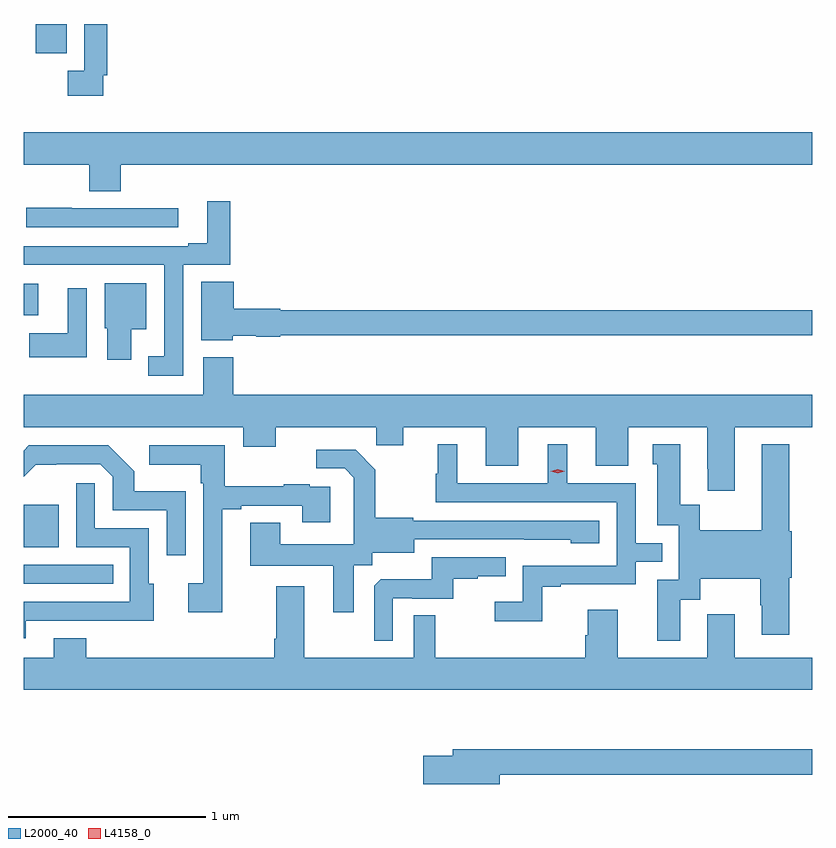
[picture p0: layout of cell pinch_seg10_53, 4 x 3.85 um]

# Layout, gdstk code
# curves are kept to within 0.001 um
import gdstk
lib = gdstk.Library(unit=1e-6, precision=1e-09)
def R(c, l, rs):  # rectangles x0, y0, x1, y1
    for r in rs: c.add(gdstk.rectangle(r[:2], r[2:], *l))
def P(c, l, *ps):  # polygons
    for p in ps: c.add(gdstk.Polygon(p, *l))
L2000_40 = (2000, 40)
L4158_0 = (4158, 0)

pinch_seg10_53 = lib.new_cell('pinch_seg10_53')
R(pinch_seg10_53, L2000_40, [(840.631,1320.834,841.085,1320.93), (840.631,1321.019,840.808,1321.234), (840.631,1322.195,840.706,1322.356), (840.692,1323.524,840.85,1323.673)])
P(pinch_seg10_53, L2000_40, [(841.035,1323.412),(841.055,1323.412),(841.055,1323.673),(840.939,1323.673),(840.939,1323.436),(840.855,1323.436),(840.855,1323.308),(841.035,1323.308)],
  [(841.124,1322.96),(844.631,1322.96),(844.631,1323.124),(840.631,1323.124),(840.631,1322.96),(840.964,1322.96),(840.964,1322.824),(841.124,1322.824)],
  [(841.44,1322.451),(841.679,1322.451),(841.679,1322.773),(841.562,1322.773),(841.562,1322.56),(841.466,1322.56),(841.466,1322.547),(840.631,1322.547),(840.631,1322.451),(841.344,1322.451),(841.344,1321.987),(841.262,1321.987),(841.262,1321.89),(841.44,1321.89)],
  [(841.414,1322.739),(840.875,1322.739),(840.875,1322.742),(840.645,1322.742),(840.645,1322.643),(841.414,1322.643)],
  [(841.692,1322.093),(841.812,1322.093),(841.812,1322.086),(841.932,1322.086),(841.932,1322.094),(844.631,1322.094),(844.631,1322.222),(841.932,1322.222),(841.932,1322.23),(841.696,1322.23),(841.696,1322.366),(841.532,1322.366),(841.532,1322.069),(841.692,1322.069)],
  [(841.177,1322.126),(841.252,1322.126),(841.252,1322.359),(841.043,1322.359),(841.043,1322.13),(841.055,1322.13),(841.055,1321.971),(841.177,1321.971)],
  [(840.951,1322.332),(840.854,1322.332),(840.854,1322.104),(840.66,1322.104),(840.66,1321.982),(840.951,1321.982)],
  [(844.237,1321.628),(844.631,1321.628),(844.631,1321.792),(841.694,1321.792),(841.694,1321.984),(841.541,1321.984),(841.541,1321.792),(840.631,1321.792),(840.631,1321.628),(841.745,1321.628),(841.745,1321.529),(841.909,1321.529),(841.909,1321.628),(842.419,1321.628),(842.419,1321.538),(842.557,1321.538),(842.557,1321.628),(842.975,1321.628),(842.975,1321.434),(843.139,1321.434),(843.139,1321.628),(843.533,1321.628),(843.533,1321.434),(843.697,1321.434),(843.697,1321.628),(844.097,1321.628),(844.097,1321.417),(844.1,1321.417),(844.1,1321.305),(844.237,1321.305)],
  [(843.961,1320.754),(844.063,1320.754),(844.063,1320.86),(844.366,1320.86),(844.366,1320.726),(844.373,1320.726),(844.373,1320.576),(844.513,1320.576),(844.513,1320.864),(844.526,1320.864),(844.526,1321.101),(844.513,1321.101),(844.513,1321.543),(844.373,1321.543),(844.373,1321.105),(844.059,1321.105),(844.059,1321.235),(843.961,1321.235),(843.961,1321.543),(843.821,1321.543),(843.821,1321.44),(843.845,1321.44),(843.845,1321.131),(843.954,1321.131),(843.954,1320.855),(843.845,1320.855),(843.845,1320.546),(843.961,1320.546)],
  [(843.261,1320.819),(843.355,1320.819),(843.355,1320.831),(843.735,1320.831),(843.735,1320.945),(843.869,1320.945),(843.869,1321.041),(843.735,1321.041),(843.735,1321.344),(843.388,1321.344),(843.388,1321.543),(843.29,1321.543),(843.29,1321.344),(842.83,1321.344),(842.83,1321.543),(842.732,1321.543),(842.732,1321.392),(842.721,1321.392),(842.721,1321.248),(843.639,1321.248),(843.639,1320.927),(843.162,1320.927),(843.162,1320.742),(843.021,1320.742),(843.021,1320.644),(843.261,1320.644)],
  [(841.639,1321.212),(841.735,1321.212),(841.735,1321.23),(842.045,1321.23),(842.045,1321.146),(842.185,1321.146),(842.185,1321.326),(842.081,1321.326),(842.081,1321.339),(841.949,1321.339),(841.949,1321.328),(841.651,1321.328),(841.651,1321.536),(841.269,1321.536),(841.269,1321.439),(841.53,1321.439),(841.53,1321.343),(841.542,1321.343),(841.542,1320.838),(841.467,1320.838),(841.467,1320.69),(841.639,1320.69)],
  [(841.452,1321.303),(841.191,1321.303),(841.191,1321.406),(841.06,1321.536),(840.657,1321.536),(840.631,1321.51),(840.631,1321.378),(840.692,1321.439),(841.02,1321.44),(841.083,1321.377),(841.083,1321.206),(841.356,1321.206),(841.356,1320.978),(841.452,1320.978)],
  [(842.305,1320.928),(842.4,1320.928),(842.4,1320.992),(842.611,1320.992),(842.611,1321.059),(843.405,1321.058),(843.405,1321.04),(843.55,1321.04),(843.55,1321.155),(842.607,1321.155),(842.607,1321.168),(842.415,1321.168),(842.415,1321.413),(842.315,1321.513),(842.115,1321.513),(842.115,1321.419),(842.259,1321.419),(842.306,1321.372),(842.306,1321.277),(842.304,1321.277),(842.304,1321.036),(841.933,1321.036),(841.933,1321.145),(841.781,1321.145),(841.781,1320.926),(842.201,1320.926),(842.201,1320.69),(842.305,1320.69)],
  [(840.643,1320.648),(841.073,1320.648),(841.073,1320.647),(841.291,1320.647),(841.291,1320.834),(841.266,1320.834),(841.266,1321.116),(840.993,1321.116),(840.993,1321.345),(840.897,1321.345),(840.897,1321.02),(841.17,1321.02),(841.17,1320.744),(840.631,1320.744),(840.631,1320.558),(840.643,1320.558)],
  [(842.502,1320.762),(842.602,1320.762),(842.602,1320.759),(842.81,1320.759),(842.81,1320.861),(842.933,1320.861),(842.933,1320.872),(843.077,1320.872),(843.077,1320.969),(842.7,1320.969),(842.7,1320.857),(842.441,1320.857),(842.409,1320.825),(842.409,1320.545),(842.502,1320.545)],
  [(844.631,1320.46),(844.237,1320.46),(844.237,1320.679),(844.097,1320.679),(844.097,1320.46),(843.643,1320.46),(843.643,1320.703),(843.491,1320.703),(843.491,1320.573),(843.479,1320.573),(843.479,1320.46),(842.719,1320.46),(842.719,1320.674),(842.61,1320.674),(842.61,1320.46),(842.053,1320.46),(842.053,1320.823),(841.913,1320.823),(841.913,1320.556),(841.901,1320.556),(841.901,1320.46),(840.949,1320.46),(840.949,1320.559),(840.785,1320.559),(840.785,1320.46),(840.631,1320.46),(840.631,1320.296),(844.631,1320.296)],
  [(843.046,1319.866),(844.631,1319.866),(844.631,1319.995),(842.807,1319.995),(842.807,1319.961),(842.658,1319.961),(842.658,1319.819),(843.046,1319.819)])
P(pinch_seg10_53, L4158_0, [(843.339,1321.396),(843.303,1321.405),(843.303,1321.406),(843.303,1321.406),(843.339,1321.416),(843.375,1321.406),(843.375,1321.406),(843.375,1321.405)])

lib.write_gds('pinch_seg10_53.gds')
